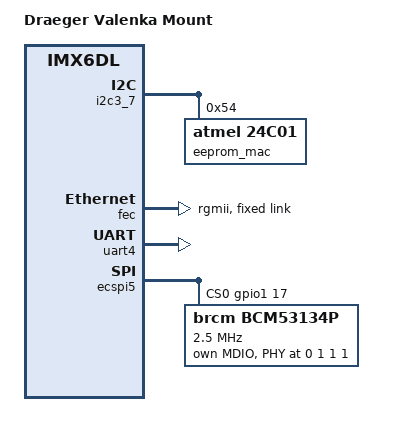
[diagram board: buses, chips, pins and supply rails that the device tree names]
/*
 *  (C) Copyright 2020 Draeger and Licensors, info@draeger.com
 *
 *  SPDX-License-Identifier: GPL-2.0+
 *  Device Tree file for Drager Valenka Mount Board
 */

/dts-v1/;

#include "imx6q.dtsi"
/* PAD config disabled in imx6qdl-draeger-m48.dtsi by setting value to 0x80000000
 * PAD configuration register must not be 0, so it is set to 0xfff
 */
#define MX6QDL_PAD_CTL_GRP_DDR_TYPE_RGMII        0x790 0xfff 0x000 0x000C0000 0x0
#define MX6QDL_PAD_CTL_GRP_RGMII_TERM            0x7ac 0xfff 0x000 0x00000000 0x0

#include "imx6qdl-draeger-valenka.dtsi"

/ {
	model = "Draeger Valenka Mount";
	compatible = "draeger,m48/q", "fsl,imx6dl";

	aliases {
		ethphy0 = &ethphy0;
		ethphy1 = &ethphy1;
		ethphy2 = &ethphy2;
		ethphy3 = &ethphy3;
		eeprom_mac = &eeprom_mac;
		bcm53134p = &bcm53134p;
	};
};

&i2c3_mux {
	i2c3_7: i2c@7 {
		#address-cells = <1>;
		#size-cells = <0>;
		reg = <7>;

		eeprom_mac: eeprom@50 {
			compatible = "atmel,24c01";
			reg = <0x54>;
			pagesize = <16>;
		};
	};
};

&fec {
	pinctrl-names = "default";
	pinctrl-0 = <&pinctrl_valenka_enet>;
	phy-mode = "rgmii";
	status = "okay";

	fixed-link {
		speed = <1000>;
		full-duplex;
		fixed-device-handle = <&bcm53134p>;
	};

};

&uart4 {
    pinctrl-names = "default";
    pinctrl-0 = <&pinctrl_valenka_uart4>;
    status = "okay";
};

&ecspi5 {
	cs-gpios = <&gpio1 17 0>;
	pinctrl-names = "default";
	pinctrl-0 = <&pinctrl_valenka_ecspi5>;
	status = "okay";

	bcm53134p: bcm-switch@0 {
		#address-cells = <1>;
		#size-cells = <0>;
		compatible = "brcm,bcm53134p";
		spi-max-frequency = <2500000>;
		reg = <0>;

		mdio {
			#address-cells = <1>;
			#size-cells = <0>;

			ethphy0: ethernet-phy@0 {
				reg = <0>;
				status = "okay";
			};

			ethphy1: ethernet-phy@1 {
				reg = <1>;
				status = "okay";
			};

			ethphy2: ethernet-phy@2 {
				reg = <1>;
				status = "okay";
			};

			ethphy3: ethernet-phy@3 {
				reg = <1>;
				status = "okay";
			};
		};

		port0: port@0 {
			reg = <0>;
			phy-handle = <&ethphy0>;
			status = "okay";
		};

		port1: port@1 {
			reg = <1>;
			phy-handle = <&ethphy1>;
			status = "okay";
		};

		port2: port@2 {
			reg = <2>;
			phy-handle = <&ethphy2>;
			status = "disabled";
		};

		port3: port@3 {
			reg = <3>;
			phy-handle = <&ethphy3>;
			status = "disabled";
		};

		port5: port@5 {
			reg = <5>;
			mode = "sgmii";
			enable-optics-gpios = <&gpio1 7 0>;
			status = "okay";
		};

		port8: port@8 {
			reg = <8>;
			imp = <1>;
			mode = "sgmii";
			status = "okay";
		};
	};
};
